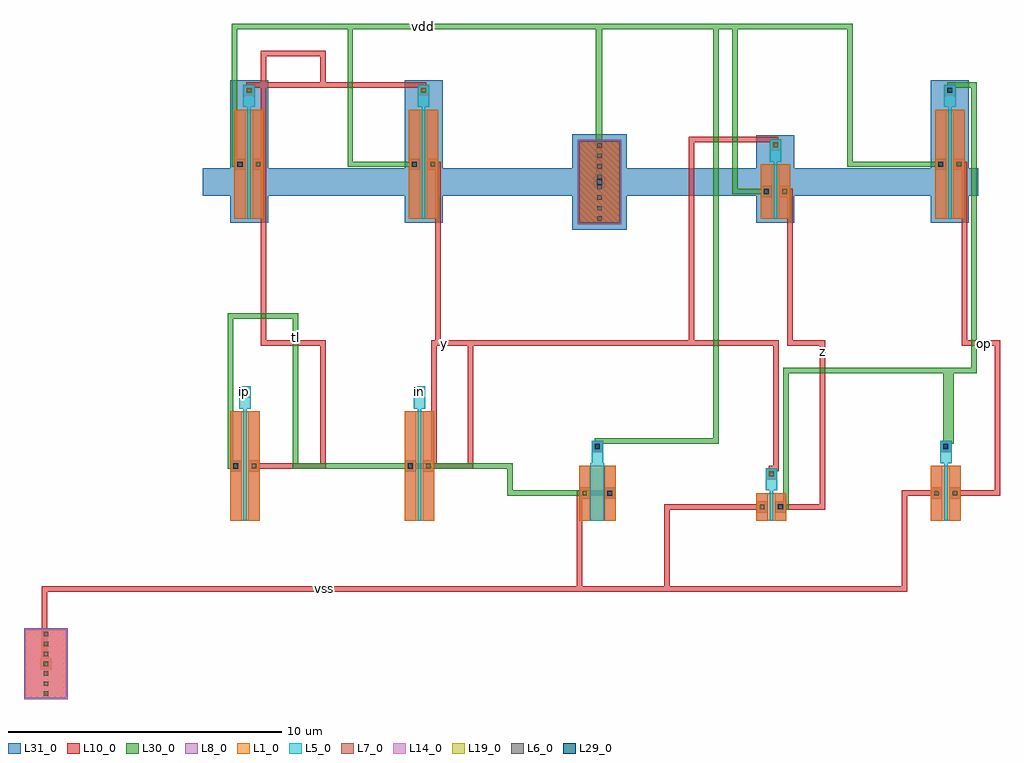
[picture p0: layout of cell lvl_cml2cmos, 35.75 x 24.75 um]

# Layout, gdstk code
import gdstk
lib = gdstk.Library(unit=1e-6, precision=1e-09)
def R(c, l, rs):  # rectangles x0, y0, x1, y1
    for r in rs: c.add(gdstk.rectangle(r[:2], r[2:], *l))
def A(c, l, x, y, w, h, nx, ny, dx, dy):  # array of equal rectangles
    R(c, l, [(x+i*dx, y+j*dy, x+i*dx+w, y+j*dy+h) for i in range(nx) for j in range(ny)])
L1_0 = (1, 0)
L5_0 = (5, 0)
L6_0 = (6, 0)
L7_0 = (7, 0)
L8_0 = (8, 0)
L10_0 = (10, 0)
L14_0 = (14, 0)
L19_0 = (19, 0)
L29_0 = (29, 0)
L30_0 = (30, 0)
L31_0 = (31, 0)

lvl_cml2cmos_xmn1__core = lib.new_cell('lvl_cml2cmos_XMn1__core')
R(lvl_cml2cmos_xmn1__core, L1_0, [(0,0,1.09,4)])
R(lvl_cml2cmos_xmn1__core, L5_0, [(0.48,0,0.61,4), (0.48,4,0.61,4.1), (0.335,4.1,0.755,4.92)])
R(lvl_cml2cmos_xmn1__core, L6_0, [(0.13,1.92,0.29,2.08), (0.8,1.92,0.96,2.08), (0.465,4.63,0.625,4.79)])
R(lvl_cml2cmos_xmn1__core, L8_0, [(0,0,0.42,4), (0.67,0,1.09,4), (0.335,4.5,0.755,4.92)])

xmn1__lvl_cml2cmos_xmn1 = lib.new_cell('XMn1__lvl_cml2cmos_XMn1')
xmn1__lvl_cml2cmos_xmn1.add(gdstk.Reference(lvl_cml2cmos_xmn1__core, (0,0)))

lvl_cml2cmos_xmn2__core = lib.new_cell('lvl_cml2cmos_XMn2__core')
R(lvl_cml2cmos_xmn2__core, L1_0, [(0,0,1.09,4)])
R(lvl_cml2cmos_xmn2__core, L5_0, [(0.48,0,0.61,4), (0.48,4,0.61,4.1), (0.335,4.1,0.755,4.92)])
R(lvl_cml2cmos_xmn2__core, L6_0, [(0.13,1.92,0.29,2.08), (0.8,1.92,0.96,2.08), (0.465,4.63,0.625,4.79)])
R(lvl_cml2cmos_xmn2__core, L8_0, [(0,0,0.42,4), (0.67,0,1.09,4), (0.335,4.5,0.755,4.92)])

xmn2__lvl_cml2cmos_xmn2 = lib.new_cell('XMn2__lvl_cml2cmos_XMn2')
xmn2__lvl_cml2cmos_xmn2.add(gdstk.Reference(lvl_cml2cmos_xmn2__core, (0,0)))

lvl_cml2cmos_xmnt__core = lib.new_cell('lvl_cml2cmos_XMnt__core')
R(lvl_cml2cmos_xmnt__core, L1_0, [(0,0,1.34,2)])
R(lvl_cml2cmos_xmnt__core, L5_0, [(0.42,0,0.92,2), (0.42,2,0.92,2.1), (0.46,2.1,0.88,2.92)])
R(lvl_cml2cmos_xmnt__core, L6_0, [(0.13,0.92,0.29,1.08), (1.05,0.92,1.21,1.08), (0.59,2.63,0.75,2.79)])
R(lvl_cml2cmos_xmnt__core, L8_0, [(0,0,0.42,2), (0.92,0,1.34,2), (0.46,2.5,0.88,2.92)])

xmnt__lvl_cml2cmos_xmnt = lib.new_cell('XMnt__lvl_cml2cmos_XMnt')
xmnt__lvl_cml2cmos_xmnt.add(gdstk.Reference(lvl_cml2cmos_xmnt__core, (0,0)))

lvl_cml2cmos_xmp1__core = lib.new_cell('lvl_cml2cmos_XMp1__core')
R(lvl_cml2cmos_xmp1__core, L1_0, [(0,0,1.09,4)])
R(lvl_cml2cmos_xmp1__core, L5_0, [(0.48,0,0.61,4), (0.48,4,0.61,4.1), (0.335,4.1,0.755,4.92)])
R(lvl_cml2cmos_xmp1__core, L6_0, [(0.13,1.92,0.29,2.08), (0.8,1.92,0.96,2.08), (0.465,4.63,0.625,4.79)])
R(lvl_cml2cmos_xmp1__core, L8_0, [(0,0,0.42,4), (0.67,0,1.09,4), (0.335,4.5,0.755,4.92)])
R(lvl_cml2cmos_xmp1__core, L31_0, [(-0.15,-0.15,1.24,5.07)])

xmp1__lvl_cml2cmos_xmp1 = lib.new_cell('XMp1__lvl_cml2cmos_XMp1')
xmp1__lvl_cml2cmos_xmp1.add(gdstk.Reference(lvl_cml2cmos_xmp1__core, (0,0)))

lvl_cml2cmos_xmp2__core = lib.new_cell('lvl_cml2cmos_XMp2__core')
R(lvl_cml2cmos_xmp2__core, L1_0, [(0,0,1.09,4)])
R(lvl_cml2cmos_xmp2__core, L5_0, [(0.48,0,0.61,4), (0.48,4,0.61,4.1), (0.335,4.1,0.755,4.92)])
R(lvl_cml2cmos_xmp2__core, L6_0, [(0.13,1.92,0.29,2.08), (0.8,1.92,0.96,2.08), (0.465,4.63,0.625,4.79)])
R(lvl_cml2cmos_xmp2__core, L8_0, [(0,0,0.42,4), (0.67,0,1.09,4), (0.335,4.5,0.755,4.92)])
R(lvl_cml2cmos_xmp2__core, L31_0, [(-0.15,-0.15,1.24,5.07)])

xmp2__lvl_cml2cmos_xmp2 = lib.new_cell('XMp2__lvl_cml2cmos_XMp2')
xmp2__lvl_cml2cmos_xmp2.add(gdstk.Reference(lvl_cml2cmos_xmp2__core, (0,0)))

lvl_cml2cmos_xmpi1__core = lib.new_cell('lvl_cml2cmos_XMpi1__core')
R(lvl_cml2cmos_xmpi1__core, L1_0, [(0,0,1.09,2)])
R(lvl_cml2cmos_xmpi1__core, L5_0, [(0.48,0,0.61,2), (0.48,2,0.61,2.1), (0.335,2.1,0.755,2.92)])
R(lvl_cml2cmos_xmpi1__core, L6_0, [(0.13,0.92,0.29,1.08), (0.8,0.92,0.96,1.08), (0.465,2.63,0.625,2.79)])
R(lvl_cml2cmos_xmpi1__core, L8_0, [(0,0,0.42,2), (0.67,0,1.09,2), (0.335,2.5,0.755,2.92)])
R(lvl_cml2cmos_xmpi1__core, L31_0, [(-0.15,-0.15,1.24,3.07)])

xmpi1__lvl_cml2cmos_xmpi = lib.new_cell('XMpi1__lvl_cml2cmos_XMpi1')
xmpi1__lvl_cml2cmos_xmpi.add(gdstk.Reference(lvl_cml2cmos_xmpi1__core, (0,0)))

lvl_cml2cmos_xmni1__core = lib.new_cell('lvl_cml2cmos_XMni1__core')
R(lvl_cml2cmos_xmni1__core, L1_0, [(0,0,1.09,1)])
R(lvl_cml2cmos_xmni1__core, L5_0, [(0.48,0,0.61,1), (0.48,1,0.61,1.1), (0.335,1.1,0.755,1.92)])
R(lvl_cml2cmos_xmni1__core, L6_0, [(0.13,0.42,0.29,0.58), (0.8,0.42,0.96,0.58), (0.465,1.63,0.625,1.79)])
R(lvl_cml2cmos_xmni1__core, L8_0, [(0,0,0.42,1), (0.67,0,1.09,1), (0.335,1.5,0.755,1.92)])

xmni1__lvl_cml2cmos_xmni = lib.new_cell('XMni1__lvl_cml2cmos_XMni1')
xmni1__lvl_cml2cmos_xmni.add(gdstk.Reference(lvl_cml2cmos_xmni1__core, (0,0)))

lvl_cml2cmos_xmpi2__core = lib.new_cell('lvl_cml2cmos_XMpi2__core')
R(lvl_cml2cmos_xmpi2__core, L1_0, [(0,0,1.09,4)])
R(lvl_cml2cmos_xmpi2__core, L5_0, [(0.48,0,0.61,4), (0.48,4,0.61,4.1), (0.335,4.1,0.755,4.92)])
R(lvl_cml2cmos_xmpi2__core, L6_0, [(0.13,1.92,0.29,2.08), (0.8,1.92,0.96,2.08), (0.465,4.63,0.625,4.79)])
R(lvl_cml2cmos_xmpi2__core, L8_0, [(0,0,0.42,4), (0.67,0,1.09,4), (0.335,4.5,0.755,4.92)])
R(lvl_cml2cmos_xmpi2__core, L31_0, [(-0.15,-0.15,1.24,5.07)])

xmpi2__lvl_cml2cmos_xmpi = lib.new_cell('XMpi2__lvl_cml2cmos_XMpi2')
xmpi2__lvl_cml2cmos_xmpi.add(gdstk.Reference(lvl_cml2cmos_xmpi2__core, (0,0)))

lvl_cml2cmos_xmni2__core = lib.new_cell('lvl_cml2cmos_XMni2__core')
R(lvl_cml2cmos_xmni2__core, L1_0, [(0,0,1.09,2)])
R(lvl_cml2cmos_xmni2__core, L5_0, [(0.48,0,0.61,2), (0.48,2,0.61,2.1), (0.335,2.1,0.755,2.92)])
R(lvl_cml2cmos_xmni2__core, L6_0, [(0.13,0.92,0.29,1.08), (0.8,0.92,0.96,1.08), (0.465,2.63,0.625,2.79)])
R(lvl_cml2cmos_xmni2__core, L8_0, [(0,0,0.42,2), (0.67,0,1.09,2), (0.335,2.5,0.755,2.92)])

xmni2__lvl_cml2cmos_xmni = lib.new_cell('XMni2__lvl_cml2cmos_XMni2')
xmni2__lvl_cml2cmos_xmni.add(gdstk.Reference(lvl_cml2cmos_xmni2__core, (0,0)))

tie_vdd__lvl_cml2cmos_ti = lib.new_cell('TIE_VDD__lvl_cml2cmos_tie_vdd')
R(tie_vdd__lvl_cml2cmos_ti, L1_0, [(0,0,1.5,3)])
A(tie_vdd__lvl_cml2cmos_ti, L6_0, 0.67, 0.85, 0.16, 0.16, 1, 4, 0, 0.38)
R(tie_vdd__lvl_cml2cmos_ti, L6_0, [(0.67,0.08,0.83,0.24), (0.67,0.46,0.83,0.62), (0.67,2.38,0.83,2.54), (0.67,2.76,0.83,2.92)])
R(tie_vdd__lvl_cml2cmos_ti, L7_0, [(0,0,1.5,3)])
R(tie_vdd__lvl_cml2cmos_ti, L8_0, [(-0.05,-0.05,1.55,3.05)])
R(tie_vdd__lvl_cml2cmos_ti, L31_0, [(-0.25,-0.25,1.75,3.25)])
tie_vdd__lvl_cml2cmos_ti.add(gdstk.Label('vdd', (0.75,1.5), layer=8, texttype=25))

tie_vss__lvl_cml2cmos_ti = lib.new_cell('TIE_VSS__lvl_cml2cmos_tie_vss')
R(tie_vss__lvl_cml2cmos_ti, L1_0, [(0,0,1.5,2.5)])
A(tie_vss__lvl_cml2cmos_ti, L6_0, 0.67, 0.81, 0.16, 0.16, 1, 3, 0, 0.36)
R(tie_vss__lvl_cml2cmos_ti, L6_0, [(0.67,0.08,0.83,0.24), (0.67,0.44,0.83,0.6), (0.67,1.9,0.83,2.06), (0.67,2.26,0.83,2.42)])
R(tie_vss__lvl_cml2cmos_ti, L8_0, [(-0.05,-0.05,1.55,2.55)])
R(tie_vss__lvl_cml2cmos_ti, L14_0, [(0,0,1.5,2.5)])
tie_vss__lvl_cml2cmos_ti.add(gdstk.Label('vss', (0.75,1.25), layer=8, texttype=25))

lvl_cml2cmos = lib.new_cell('lvl_cml2cmos')
R(lvl_cml2cmos, L8_0, [(1.04,-5.46,1.46,-5.04), (27.28,0.29,27.7,0.71), (27.95,0.29,28.37,0.71), (27.95,0.29,28.37,0.71), (20.78,0.79,21.2,1.21), (20.78,0.79,21.2,1.21), (20.78,0.79,21.2,1.21), (21.7,0.79,22.12,1.21), (33.67,0.79,34.09,1.21), (34.34,0.79,34.76,1.21), (27.615,1.5,28.035,1.92), (8,1.79,8.42,2.21), (8.67,1.79,9.09,2.21), (14.39,1.79,14.81,2.21), (14.39,1.79,14.81,2.21), (15.06,1.79,15.48,2.21), (15.06,1.79,15.48,2.21), (15.06,1.79,15.48,2.21), (21.24,2.5,21.66,2.92), (34.005,2.5,34.425,2.92), (34.005,2.5,34.425,2.92), (27.43,11.84,27.85,12.26), (28.1,11.84,28.52,12.26), (21.32,12.19,21.74,12.61), (21.32,12.19,21.74,12.61), (8.15,12.84,8.57,13.26), (8.15,12.84,8.57,13.26), (8.15,12.84,8.57,13.26), (8.15,12.84,8.57,13.26), (8.82,12.84,9.24,13.26), (8.82,12.84,9.24,13.26), (8.82,12.84,9.24,13.26), (14.54,12.84,14.96,13.26), (15.21,12.84,15.63,13.26), (33.82,12.84,34.24,13.26), (34.49,12.84,34.91,13.26), (27.765,13.55,28.185,13.97), (8.485,15.55,8.905,15.97), (14.875,15.55,15.295,15.97), (34.155,15.55,34.575,15.97)])
R(lvl_cml2cmos, L10_0, [(1.04,-5.46,1.46,-5.04), (27.28,0.29,27.7,0.71), (27.95,0.29,28.37,0.71), (27.95,0.29,28.37,0.71), (27.95,0.29,28.37,0.71), (20.78,0.79,21.2,1.21), (20.78,0.79,21.2,1.21), (20.78,0.79,21.2,1.21), (21.7,0.79,22.12,1.21), (21.7,0.79,22.12,1.21), (33.67,0.79,34.09,1.21), (34.34,0.79,34.76,1.21), (27.615,1.5,28.035,1.92), (8,1.79,8.42,2.21), (8,1.79,8.42,2.21), (8.67,1.79,9.09,2.21), (14.39,1.79,14.81,2.21), (14.39,1.79,14.81,2.21), (14.39,1.79,14.81,2.21), (14.39,1.79,14.81,2.21), (15.06,1.79,15.48,2.21), (15.06,1.79,15.48,2.21), (15.06,1.79,15.48,2.21), (21.24,2.5,21.66,2.92), (21.24,2.5,21.66,2.92), (34.005,2.5,34.425,2.92), (34.005,2.5,34.425,2.92), (34.005,2.5,34.425,2.92), (34.005,2.5,34.425,2.92), (27.43,11.84,27.85,12.26), (27.43,11.84,27.85,12.26), (28.1,11.84,28.52,12.26), (21.32,12.19,21.74,12.61), (21.32,12.19,21.74,12.61), (21.32,12.19,21.74,12.61), (21.32,12.19,21.74,12.61), (8.15,12.84,8.57,13.26), (8.15,12.84,8.57,13.26), (8.15,12.84,8.57,13.26), (8.15,12.84,8.57,13.26), (8.15,12.84,8.57,13.26), (8.15,12.84,8.57,13.26), (8.15,12.84,8.57,13.26), (8.15,12.84,8.57,13.26), (8.82,12.84,9.24,13.26), (8.82,12.84,9.24,13.26), (8.82,12.84,9.24,13.26), (14.54,12.84,14.96,13.26), (14.54,12.84,14.96,13.26), (15.21,12.84,15.63,13.26), (33.82,12.84,34.24,13.26), (33.82,12.84,34.24,13.26), (34.49,12.84,34.91,13.26), (27.765,13.55,28.185,13.97), (8.485,15.55,8.905,15.97), (14.875,15.55,15.295,15.97), (34.155,15.55,34.575,15.97), (34.155,15.55,34.575,15.97)])
R(lvl_cml2cmos, L19_0, [(1.155,-5.345,1.345,-5.155), (27.395,0.405,27.585,0.595), (28.065,0.405,28.255,0.595), (28.065,0.405,28.255,0.595), (20.895,0.905,21.085,1.095), (20.895,0.905,21.085,1.095), (20.895,0.905,21.085,1.095), (21.815,0.905,22.005,1.095), (33.785,0.905,33.975,1.095), (34.455,0.905,34.645,1.095), (27.73,1.615,27.92,1.805), (8.115,1.905,8.305,2.095), (8.785,1.905,8.975,2.095), (14.505,1.905,14.695,2.095), (14.505,1.905,14.695,2.095), (15.175,1.905,15.365,2.095), (15.175,1.905,15.365,2.095), (15.175,1.905,15.365,2.095), (21.355,2.615,21.545,2.805), (34.12,2.615,34.31,2.805), (34.12,2.615,34.31,2.805), (27.545,11.955,27.735,12.145), (28.215,11.955,28.405,12.145), (21.435,12.305,21.625,12.495), (21.435,12.305,21.625,12.495), (8.265,12.955,8.455,13.145), (8.265,12.955,8.455,13.145), (8.265,12.955,8.455,13.145), (8.265,12.955,8.455,13.145), (8.935,12.955,9.125,13.145), (8.935,12.955,9.125,13.145), (8.935,12.955,9.125,13.145), (14.655,12.955,14.845,13.145), (15.325,12.955,15.515,13.145), (33.935,12.955,34.125,13.145), (34.605,12.955,34.795,13.145), (27.88,13.665,28.07,13.855), (8.6,15.665,8.79,15.855), (14.99,15.665,15.18,15.855), (34.27,15.665,34.46,15.855)])
R(lvl_cml2cmos, L29_0, [(28.065,0.405,28.255,0.595), (21.815,0.905,22.005,1.095), (8.115,1.905,8.305,2.095), (14.505,1.905,14.695,2.095), (14.505,1.905,14.695,2.095), (21.355,2.615,21.545,2.805), (34.12,2.615,34.31,2.805), (34.12,2.615,34.31,2.805), (27.545,11.955,27.735,12.145), (21.435,12.305,21.625,12.495), (21.435,12.305,21.625,12.495), (8.265,12.955,8.455,13.145), (8.265,12.955,8.455,13.145), (8.265,12.955,8.455,13.145), (8.265,12.955,8.455,13.145), (14.655,12.955,14.845,13.145), (33.935,12.955,34.125,13.145), (34.27,15.665,34.46,15.855)])
R(lvl_cml2cmos, L30_0, [(27.95,0.29,28.37,0.71), (21.7,0.79,22.12,1.21), (8,1.79,8.42,2.21), (14.39,1.79,14.81,2.21), (14.39,1.79,14.81,2.21), (21.24,2.5,21.66,2.92), (34.005,2.5,34.425,2.92), (34.005,2.5,34.425,2.92), (27.43,11.84,27.85,12.26), (21.32,12.19,21.74,12.61), (21.32,12.19,21.74,12.61), (8.15,12.84,8.57,13.26), (8.15,12.84,8.57,13.26), (8.15,12.84,8.57,13.26), (8.15,12.84,8.57,13.26), (14.54,12.84,14.96,13.26), (33.82,12.84,34.24,13.26), (34.155,15.55,34.575,15.97)])
R(lvl_cml2cmos, L31_0, [(7,11.9,35.4,12.9)])
lvl_cml2cmos.add(gdstk.FlexPath([(1.25,-5.25),(1.25,-5.05),(1.2,-5.05),(1.2,-2.5),(20.79,-2.5),(20.79,1),(20.99,1)], 0.2, ends="flush", simple_path=True, layer=10, datatype=0))  # L10_0
lvl_cml2cmos.add(gdstk.FlexPath([(27.49,0.5),(24,0.5),(24,-2.5),(20.79,-2.5),(20.79,1),(20.99,1)], 0.2, ends="flush", simple_path=True, layer=10, datatype=0))  # L10_0
lvl_cml2cmos.add(gdstk.FlexPath([(33.88,1),(32.7,1),(32.7,-2.5),(20.79,-2.5),(20.79,1),(20.99,1)], 0.2, ends="flush", simple_path=True, layer=10, datatype=0))  # L10_0
lvl_cml2cmos.add(gdstk.FlexPath([(34.55,1),(36.1,1),(36.1,6.5),(34.9,6.5),(34.9,13.05),(34.7,13.05)], 0.2, ends="flush", simple_path=True, layer=10, datatype=0))  # L10_0
lvl_cml2cmos.add(gdstk.FlexPath([(8.88,2),(11.4,2),(11.4,6.5),(9.23,6.5),(9.23,13.05),(9.03,13.05)], 0.2, ends="flush", simple_path=True, layer=10, datatype=0))  # L10_0
lvl_cml2cmos.add(gdstk.FlexPath([(8.695,15.76),(8.695,15.96),(11.4,15.96),(11.4,17.1),(9.23,17.1),(9.23,13.05),(9.03,13.05)], 0.2, ends="flush", simple_path=True, layer=10, datatype=0))  # L10_0
lvl_cml2cmos.add(gdstk.FlexPath([(15.085,15.76),(15.085,15.96),(11.4,15.96),(11.4,17.1),(9.23,17.1),(9.23,13.05),(9.03,13.05)], 0.2, ends="flush", simple_path=True, layer=10, datatype=0))  # L10_0
lvl_cml2cmos.add(gdstk.FlexPath([(15.27,2),(16.8,2),(16.8,6.5),(15.62,6.5),(15.62,13.05),(15.42,13.05)], 0.2, ends="flush", simple_path=True, layer=10, datatype=0))  # L10_0
lvl_cml2cmos.add(gdstk.FlexPath([(27.825,1.71),(27.825,1.91),(28,1.91),(28,6.5),(15.47,6.5),(15.47,2),(15.27,2)], 0.2, ends="flush", simple_path=True, layer=10, datatype=0))  # L10_0
lvl_cml2cmos.add(gdstk.FlexPath([(27.975,13.76),(27.975,13.96),(24.9,13.96),(24.9,6.5),(15.47,6.5),(15.47,2),(15.27,2)], 0.2, ends="flush", simple_path=True, layer=10, datatype=0))  # L10_0
lvl_cml2cmos.add(gdstk.FlexPath([(28.16,0.5),(29.7,0.5),(29.7,6.5),(28.51,6.5),(28.51,12.05),(28.31,12.05)], 0.2, ends="flush", simple_path=True, layer=10, datatype=0))  # L10_0
lvl_cml2cmos.add(gdstk.FlexPath([(21.53,12.4),(21.53,12.6),(21.5,12.6),(21.5,18.1),(8.16,18.1),(8.16,13.05),(8.36,13.05)], 0.2, ends="flush", simple_path=True, layer=30, datatype=0))  # L30_0
lvl_cml2cmos.add(gdstk.FlexPath([(14.75,13.05),(12.4,13.05),(12.4,18.1),(8.16,18.1),(8.16,13.05),(8.36,13.05)], 0.2, ends="flush", simple_path=True, layer=30, datatype=0))  # L30_0
lvl_cml2cmos.add(gdstk.FlexPath([(27.64,12.05),(26.5,12.05),(26.5,18.1),(8.16,18.1),(8.16,13.05),(8.36,13.05)], 0.2, ends="flush", simple_path=True, layer=30, datatype=0))  # L30_0
lvl_cml2cmos.add(gdstk.FlexPath([(34.03,13.05),(30.7,13.05),(30.7,18.1),(8.16,18.1),(8.16,13.05),(8.36,13.05)], 0.2, ends="flush", simple_path=True, layer=30, datatype=0))  # L30_0
lvl_cml2cmos.add(gdstk.FlexPath([(21.45,2.71),(21.45,2.91),(25.8,2.91),(25.8,18.1),(21.53,18.1),(21.53,12.4)], 0.2, ends="flush", simple_path=True, layer=30, datatype=0))  # L30_0
lvl_cml2cmos.add(gdstk.FlexPath([(14.6,2),(10.4,2),(10.4,7.5),(8.01,7.5),(8.01,2),(8.21,2)], 0.2, ends="flush", simple_path=True, layer=30, datatype=0))  # L30_0
lvl_cml2cmos.add(gdstk.FlexPath([(14.6,2),(18.255,2),(18.255,1),(21.91,1)], 0.2, ends="flush", simple_path=True, layer=30, datatype=0))  # L30_0
lvl_cml2cmos.add(gdstk.FlexPath([(34.365,15.76),(34.365,15.96),(35.25,15.96),(35.25,5.5),(34.215,5.5),(34.215,2.71)], 0.2, ends="flush", simple_path=True, layer=30, datatype=0))  # L30_0
lvl_cml2cmos.add(gdstk.FlexPath([(34.215,2.71),(34.215,2.91),(34.4,2.91),(34.4,5.5),(28.36,5.5),(28.36,0.5),(28.16,0.5)], 0.2, ends="flush", simple_path=True, layer=30, datatype=0))  # L30_0
lvl_cml2cmos.add(gdstk.Reference(xmn1__lvl_cml2cmos_xmn1, (8,0)))
lvl_cml2cmos.add(gdstk.Reference(xmn2__lvl_cml2cmos_xmn2, (14.39,0)))
lvl_cml2cmos.add(gdstk.Reference(xmnt__lvl_cml2cmos_xmnt, (20.78,0)))
lvl_cml2cmos.add(gdstk.Reference(xmp1__lvl_cml2cmos_xmp1, (8.15,11.05)))
lvl_cml2cmos.add(gdstk.Reference(xmp2__lvl_cml2cmos_xmp2, (14.54,11.05)))
lvl_cml2cmos.add(gdstk.Reference(xmpi1__lvl_cml2cmos_xmpi, (27.43,11.05)))
lvl_cml2cmos.add(gdstk.Reference(xmni1__lvl_cml2cmos_xmni, (27.28,0)))
lvl_cml2cmos.add(gdstk.Reference(xmpi2__lvl_cml2cmos_xmpi, (33.82,11.05)))
lvl_cml2cmos.add(gdstk.Reference(xmni2__lvl_cml2cmos_xmni, (33.67,0)))
lvl_cml2cmos.add(gdstk.Reference(tie_vdd__lvl_cml2cmos_ti, (20.78,10.9)))
lvl_cml2cmos.add(gdstk.Reference(tie_vss__lvl_cml2cmos_ti, (0.5,-6.5)))
lvl_cml2cmos.add(gdstk.Label('vdd', (15.07,18.1), layer=30, texttype=25))
lvl_cml2cmos.add(gdstk.Label('tl', (10.4,6.695), layer=30, texttype=25))
lvl_cml2cmos.add(gdstk.Label('ip', (8.545,4.71), layer=8, texttype=25))
lvl_cml2cmos.add(gdstk.Label('in', (14.935,4.71), layer=8, texttype=25))
lvl_cml2cmos.add(gdstk.Label('vss', (11.445,-2.5), layer=10, texttype=25))
lvl_cml2cmos.add(gdstk.Label('op', (35.65,6.5), layer=10, texttype=25))
lvl_cml2cmos.add(gdstk.Label('x', (10.45,6.5), layer=10, texttype=25))
lvl_cml2cmos.add(gdstk.Label('y', (15.85,6.5), layer=10, texttype=25))
lvl_cml2cmos.add(gdstk.Label('z', (29.7,6.2), layer=10, texttype=25))

lib.write_gds('lvl_cml2cmos.gds')
